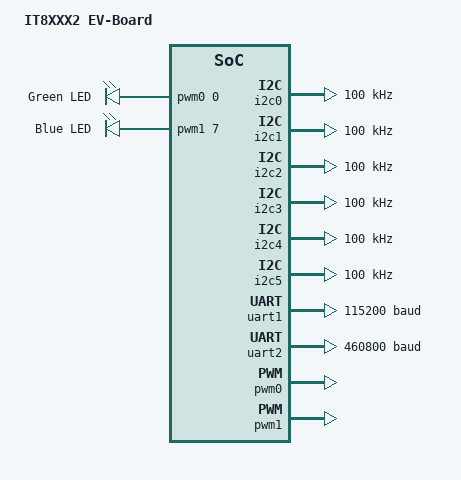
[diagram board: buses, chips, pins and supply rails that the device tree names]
/*
 * Copyright (c) ITE, All Rights Reserved
 * SPDX-License-Identifier: Apache-2.0
 */

/dts-v1/;

#include <it8xxx2.dtsi>

/ {
	model = "IT8XXX2 EV-Board";
	compatible = "riscv, it8xxx2_evb";
	aliases {
		pwm-led0 = &led0;
		pwm-led1 = &led1;

	};
	chosen {
		zephyr,console = &uart1;
		zephyr,shell-uart = &uart1;
		zephyr,bt-uart = &uart2;
		zephyr,sram = &sram0;
		zephyr,flash = &flash0;
		zephyr,flash-controller = &flashctrl;
		zephyr,code-partition = &slot0_partition;
	};
	leds {
		compatible = "pwm-leds";
		led0: led_0 {
			pwms = <&pwm0 0 0x10>;
			label = "Green LED";
		};
		led1: led_1 {
			pwms = <&pwm1 7 0>;
			label = "Blue LED";
		};
	};
};
&gpiob {
	status = "okay";
};
&gpiof {
	status = "okay";
};
&i2c0 {
	status = "okay";
	clock-frequency = <I2C_BITRATE_STANDARD>;
};
&i2c1 {
	status = "okay";
	clock-frequency = <I2C_BITRATE_STANDARD>;
};
&i2c2 {
	status = "okay";
	clock-frequency = <I2C_BITRATE_STANDARD>;
};
&i2c3 {
	status = "okay";
	clock-frequency = <I2C_BITRATE_STANDARD>;
};
&i2c4 {
	status = "okay";
	clock-frequency = <I2C_BITRATE_STANDARD>;
};
&i2c5 {
	status = "okay";
	clock-frequency = <I2C_BITRATE_STANDARD>;
};
&uart1 {
	status = "okay";
	current-speed = <115200>;
	clock-frequency = <1804800>;
};
&uart2 {
	status = "okay";
	current-speed = <460800>;
	clock-frequency = <1804800>;
};
&pwm0 {
	pwm-prescaler = <2>;
	status = "okay";
	clock-frequency = <100>;
};
&pwm1 {
	pwm-prescaler = <1>;
	status = "okay";
	clock-frequency = <30000>;
};
&flash0 {
	partitions {
		compatible = "fixed-partitions";
		#address-cells = <1>;
		#size-cells = <1>;
		boot_partition: partition@0 {
			label = "mcuboot";
			reg = <0x00000000 0x20000>;
		};
		slot0_partition: partition@20000 {
			label = "image-0";
			reg = <0x00020000 0x20000>;
		};
		slot1_partition: partition@40000 {
			label = "image-1";
			reg = <0x00040000 0x10000>;
		};
		scratch_partition: partition@50000 {
			label = "image-scratch";
			reg = <0x00050000 0x10000>;
		};
		storage_partition: partition@60000 {
			label = "storage";
			reg = <0x00060000 0x20000>;
		};
	};
};
